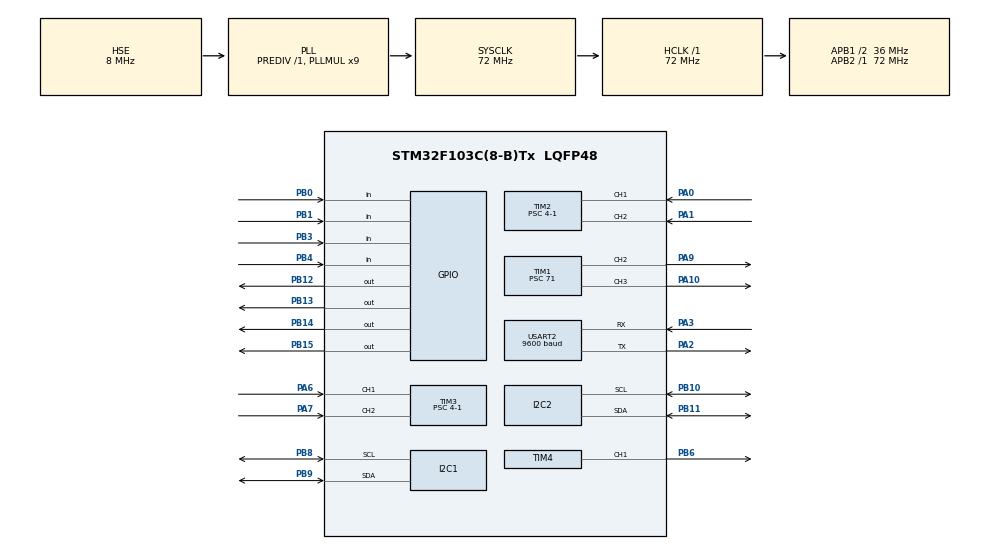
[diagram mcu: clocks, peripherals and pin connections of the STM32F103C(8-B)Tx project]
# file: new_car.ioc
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Mcu.Family=STM32F1
Mcu.Name=STM32F103C(8-B)Tx
Mcu.Package=LQFP48
NVIC.PriorityGroup=NVIC_PRIORITYGROUP_4
NVIC.USART2_IRQn=true\:0\:0\:false\:false\:true\:true\:true\:true
PA0-WKUP.Signal=S_TIM2_CH1_ETR
PA1.Signal=S_TIM2_CH2
PA10.GPIO_Speed=GPIO_SPEED_FREQ_HIGH
PA10.Signal=S_TIM1_CH3
PA13.Mode=Serial_Wire
PA13.Signal=SYS_JTMS-SWDIO
PA14.Mode=Serial_Wire
PA14.Signal=SYS_JTCK-SWCLK
PA2.Mode=Asynchronous
PA2.Signal=USART2_TX
PA3.Mode=Asynchronous
PA3.Signal=USART2_RX
PA6.Signal=S_TIM3_CH1
PA7.Signal=S_TIM3_CH2
PA9.GPIO_Speed=GPIO_SPEED_FREQ_HIGH
PA9.Signal=S_TIM1_CH2
PB0.Signal=GPIO_Input
PB1.Signal=GPIO_Input
PB10.GPIO_Speed=GPIO_SPEED_FREQ_HIGH
PB10.Mode=I2C
PB10.Signal=I2C2_SCL
PB11.GPIO_Speed=GPIO_SPEED_FREQ_HIGH
PB11.Mode=I2C
PB11.Signal=I2C2_SDA
PB12.GPIO_PuPd=GPIO_NOPULL
PB12.Signal=GPIO_Output
PB13.Signal=GPIO_Output
PB14.GPIO_PuPd=GPIO_NOPULL
PB14.Signal=GPIO_Output
PB15.GPIO_PuPd=GPIO_NOPULL
PB15.Signal=GPIO_Output
PB3.Signal=GPIO_Input
PB4.Signal=GPIO_Input
PB6.Signal=S_TIM4_CH1
PB8.GPIO_Speed=GPIO_SPEED_FREQ_HIGH
PB8.Mode=I2C
PB8.Signal=I2C1_SCL
PB9.GPIO_Speed=GPIO_SPEED_FREQ_HIGH
PB9.Mode=I2C
PB9.Signal=I2C1_SDA
PD0-OSC_IN.Mode=HSE-External-Oscillator
PD0-OSC_IN.Signal=RCC_OSC_IN
PD1-OSC_OUT.Mode=HSE-External-Oscillator
PD1-OSC_OUT.Signal=RCC_OSC_OUT
ProjectManager.HeapSize=0x200
ProjectManager.StackSize=0x400
ProjectManager.TargetToolchain=MDK-ARM V5.32
RCC.AHBFreq_Value=72000000
RCC.APB1CLKDivider=RCC_HCLK_DIV2
RCC.APB1Freq_Value=36000000
RCC.APB1TimFreq_Value=72000000
RCC.APB2Freq_Value=72000000
RCC.APB2TimFreq_Value=72000000
RCC.HCLKFreq_Value=72000000
RCC.PLLMUL=RCC_PLL_MUL9
RCC.PLLSourceVirtual=RCC_PLLSOURCE_HSE
RCC.SYSCLKFreq_VALUE=72000000
RCC.SYSCLKSource=RCC_SYSCLKSOURCE_PLLCLK
RCC.USBFreq_Value=72000000
SH.S_TIM1_CH2.0=TIM1_CH2,PWM Generation2 CH2
SH.S_TIM1_CH3.0=TIM1_CH3,PWM Generation3 CH3
SH.S_TIM2_CH1_ETR.0=TIM2_CH1,Encoder_Interface
SH.S_TIM2_CH2.0=TIM2_CH2,Encoder_Interface
SH.S_TIM3_CH1.0=TIM3_CH1,Encoder_Interface
SH.S_TIM3_CH2.0=TIM3_CH2,Encoder_Interface
SH.S_TIM4_CH1.0=TIM4_CH1,PWM Generation1 CH1
TIM1.Channel-PWM\ Generation2\ CH2=TIM_CHANNEL_2
TIM1.Channel-PWM\ Generation3\ CH3=TIM_CHANNEL_3
TIM1.Period=99
TIM1.Prescaler=71
TIM1.Pulse-PWM\ Generation2\ CH2=0
TIM1.Pulse-PWM\ Generation3\ CH3=0
TIM2.EncoderMode=TIM_ENCODERMODE_TI12
TIM2.Prescaler=4-1
TIM3.EncoderMode=TIM_ENCODERMODE_TI12
TIM3.Prescaler=4-1
TIM4.Channel-PWM\ Generation1\ CH1=TIM_CHANNEL_1
TIM4.Period=2000-1
TIM4.Prescaler=720-1
USART2.BaudRate=9600
USART2.VirtualMode=VM_ASYNC
board=custom

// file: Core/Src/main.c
/* USER CODE BEGIN Header */
/**
  ******************************************************************************
  * @file           : main.c
  * @brief          : Main program body
  ******************************************************************************
  * @attention
  *
  * Copyright (c) 2025 STMicroelectronics.
  * All rights reserved.
  *
  * This software is licensed under terms that can be found in the LICENSE file
  * in the root directory of this software component.
  * If no LICENSE file comes with this software, it is provided AS-IS.
  *
  ******************************************************************************
  */
/* USER CODE END Header */
#include "main.h"
#include "i2c.h"
#include "tim.h"
#include "usart.h"
#include "gpio.h"
/* USER CODE BEGIN Includes */
#include "pwm.h"
#include "pid.h"
#include "move.h"
#include "OLED.h"
/* USER CODE END Includes */

/* USER CODE BEGIN PD */

int32_t TargetEncoder;//编码器目标
uint8_t rx_buffer[3];
uint16_t TargetTime;

/* USER CODE END PD */

void SystemClock_Config(void);

int main(void)
{

  /* MCU Configuration--------------------------------------------------------*/

  /* Reset of all peripherals, Initializes the Flash interface and the Systick. */
  HAL_Init();

  /* Configure the system clock */
  SystemClock_Config();

  /* Initialize all configured peripherals */
  MX_GPIO_Init();
  MX_TIM2_Init();
  MX_TIM3_Init();
  MX_USART2_UART_Init();
  MX_I2C1_Init();
  MX_I2C2_Init();
  MX_TIM1_Init();
  MX_TIM4_Init();
  /* USER CODE BEGIN 2 */
  pwm_Init();
  pid_Init();
  OLED_Init();
  /* USER CODE END 2 */
  HAL_UART_Receive_IT(&huart2,rx_buffer,1);
  /* Infinite loop */
    while (1){

    }
}

void SystemClock_Config(void)
{
  RCC_OscInitTypeDef RCC_OscInitStruct = {0};
  RCC_ClkInitTypeDef RCC_ClkInitStruct = {0};

  /** Initializes the RCC Oscillators according to the specified parameters
  * in the RCC_OscInitTypeDef structure.
  */
  RCC_OscInitStruct.OscillatorType = RCC_OSCILLATORTYPE_HSE;
  RCC_OscInitStruct.HSEState = RCC_HSE_ON;
  RCC_OscInitStruct.HSEPredivValue = RCC_HSE_PREDIV_DIV1;
  RCC_OscInitStruct.HSIState = RCC_HSI_ON;
  RCC_OscInitStruct.PLL.PLLState = RCC_PLL_ON;
  RCC_OscInitStruct.PLL.PLLSource = RCC_PLLSOURCE_HSE;
  RCC_OscInitStruct.PLL.PLLMUL = RCC_PLL_MUL9;
  if (HAL_RCC_OscConfig(&RCC_OscInitStruct) != HAL_OK)
  {
    Error_Handler();
  }

  /** Initializes the CPU, AHB and APB buses clocks
  */
  RCC_ClkInitStruct.ClockType = RCC_CLOCKTYPE_HCLK|RCC_CLOCKTYPE_SYSCLK
                              |RCC_CLOCKTYPE_PCLK1|RCC_CLOCKTYPE_PCLK2;
  RCC_ClkInitStruct.SYSCLKSource = RCC_SYSCLKSOURCE_PLLCLK;
  RCC_ClkInitStruct.AHBCLKDivider = RCC_SYSCLK_DIV1;
  RCC_ClkInitStruct.APB1CLKDivider = RCC_HCLK_DIV2;
  RCC_ClkInitStruct.APB2CLKDivider = RCC_HCLK_DIV1;

  if (HAL_RCC_ClockConfig(&RCC_ClkInitStruct, FLASH_LATENCY_2) != HAL_OK)
  {
    Error_Handler();
  }
}

/* USER CODE BEGIN 4 */
/**
 * @brief 蓝牙模块的中断函数
 */
void HAL_UART_RxCpltCallback(UART_HandleTypeDef *huart){
  if(huart==&huart2){
    if(rx_buffer[0]==0x30){
			TargetEncoder+=1;
      TargetTime=100/(((double)TargetEncoder*10/442)*20.42);
      OLED_ShowNum(45,0,TargetTime,4,OLED_6X8);
			OLED_Update();
		}
		if(rx_buffer[0]==0x31){
			TargetEncoder-=1;
			TargetTime=100/(((double)TargetEncoder*10/442)*20.42);
      OLED_ShowNum(45,0,TargetTime,4,OLED_6X8);
			OLED_Update();
		}
		if(rx_buffer[0]==0x32){
			while(1)
				move();
		}
  }
}
/* USER CODE END 4 */

void Error_Handler(void)
{
  __disable_irq();
  while (1)
  {
  }
}
